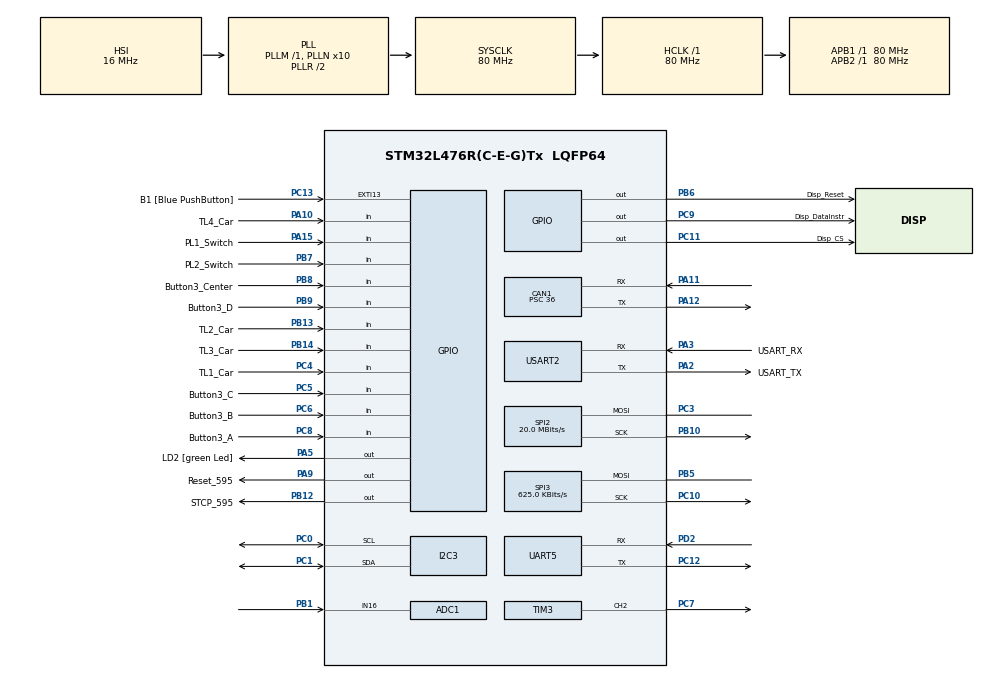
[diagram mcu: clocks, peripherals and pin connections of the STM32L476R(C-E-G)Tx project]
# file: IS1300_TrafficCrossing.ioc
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ADC1.Channel-0\#ChannelRegularConversion=ADC_CHANNEL_16
ADC1.NbrOfConversionFlag=1
ADC1.OffsetNumber-0\#ChannelRegularConversion=ADC_OFFSET_NONE
ADC1.Rank-0\#ChannelRegularConversion=1
ADC1.SamplingTime-0\#ChannelRegularConversion=ADC_SAMPLETIME_2CYCLES_5
ADC1.master=1
CAN1.CalculateBaudRate=740740
CAN1.CalculateTimeBit=1350
CAN1.CalculateTimeQuantum=450.0
CAN1.Prescaler=36
FREERTOS.Tasks01=defaultTask,24,128,StartDefaultTask,Default,NULL,Dynamic,NULL,NULL;input_task,8,128,StartInputTask,Default,NULL,Dynamic,NULL,NULL;output_task,8,128,StartOutputTask,Default,NULL,Dynamic,NULL,NULL;sensor_task,8,128,StartSensorTask,Default,NULL,Dynamic,NULL,NULL
FREERTOS.configUSE_NEWLIB_REENTRANT=1
I2C3.Timing=0x10909CEC
Mcu.Family=STM32L4
Mcu.Name=STM32L476R(C-E-G)Tx
Mcu.Package=LQFP64
NVIC.PriorityGroup=NVIC_PRIORITYGROUP_4
NVIC.TIM1_UP_TIM16_IRQn=true\:15\:0\:false\:false\:true\:false\:false\:true
NVIC.TimeBase=TIM1_UP_TIM16_IRQn
NVIC.TimeBaseIP=TIM1
PA10.GPIO_Label=TL4_Car
PA10.GPIO_PuPd=GPIO_PULLUP
PA10.Signal=GPIO_Input
PA11.Mode=CAN_Activate
PA11.Signal=CAN1_RX
PA12.Mode=CAN_Activate
PA12.Signal=CAN1_TX
PA13\ (JTMS-SWDIO).GPIO_Label=TMS
PA13\ (JTMS-SWDIO).Mode=Serial_Wire
PA13\ (JTMS-SWDIO).Signal=SYS_JTMS-SWDIO
PA14\ (JTCK-SWCLK).GPIO_Label=TCK
PA14\ (JTCK-SWCLK).Mode=Serial_Wire
PA14\ (JTCK-SWCLK).Signal=SYS_JTCK-SWCLK
PA15\ (JTDI).GPIO_Label=PL1_Switch
PA15\ (JTDI).GPIO_PuPd=GPIO_PULLUP
PA15\ (JTDI).Signal=GPIO_Input
PA2.GPIO_Label=USART_TX
PA2.GPIO_Mode=GPIO_MODE_AF_PP
PA2.GPIO_PuPd=GPIO_NOPULL
PA2.GPIO_Speed=GPIO_SPEED_FREQ_VERY_HIGH
PA2.Mode=Asynchronous
PA2.Signal=USART2_TX
PA3.GPIO_Label=USART_RX
PA3.GPIO_Mode=GPIO_MODE_AF_PP
PA3.GPIO_PuPd=GPIO_NOPULL
PA3.GPIO_Speed=GPIO_SPEED_FREQ_VERY_HIGH
PA3.Mode=Asynchronous
PA3.Signal=USART2_RX
PA5.GPIO_Label=LD2 [green Led]
PA5.GPIO_ModeDefaultOutputPP=GPIO_MODE_OUTPUT_PP
PA5.GPIO_PuPd=GPIO_NOPULL
PA5.GPIO_Speed=GPIO_SPEED_FREQ_LOW
PA5.Signal=GPIO_Output
PA9.GPIO_Label=Reset_595
PA9.Signal=GPIO_Output
PB1.Signal=ADCx_IN16
PB10.Mode=Simplex_Bidirectional_Master
PB10.Signal=SPI2_SCK
PB12.GPIO_Label=STCP_595
PB12.Signal=GPIO_Output
PB13.GPIO_Label=TL2_Car
PB13.GPIO_PuPd=GPIO_PULLUP
PB13.Signal=GPIO_Input
PB14.GPIO_Label=TL3_Car
PB14.GPIO_PuPd=GPIO_PULLUP
PB14.Signal=GPIO_Input
PB3\ (JTDO-TRACESWO).GPIO_Label=SWO
PB3\ (JTDO-TRACESWO).Signal=SYS_JTDO-SWO
PB5.Mode=Simplex_Bidirectional_Master
PB5.Signal=SPI3_MOSI
PB6.GPIO_Label=Disp_Reset
PB6.Signal=GPIO_Output
PB7.GPIO_Label=PL2_Switch
PB7.GPIO_PuPd=GPIO_PULLUP
PB7.Signal=GPIO_Input
PB8.GPIO_Label=Button3_Center
PB8.GPIO_PuPd=GPIO_PULLUP
PB8.Signal=GPIO_Input
PB9.GPIO_Label=Button3_D
PB9.GPIO_PuPd=GPIO_PULLUP
PB9.Signal=GPIO_Input
PC0.Mode=I2C
PC0.Signal=I2C3_SCL
PC1.Mode=I2C
PC1.Signal=I2C3_SDA
PC10.Mode=Simplex_Bidirectional_Master
PC10.Signal=SPI3_SCK
PC11.GPIO_Label=Disp_CS
PC11.Signal=GPIO_Output
PC12.Mode=Asynchronous
PC12.Signal=UART5_TX
PC13.GPIO_Label=B1 [Blue PushButton]
PC13.GPIO_ModeDefaultEXTI=GPIO_MODE_IT_FALLING
PC13.GPIO_PuPd=GPIO_NOPULL
PC13.Signal=GPXTI13
PC14-OSC32_IN\ (PC14).Mode=LSE-External-Oscillator
PC14-OSC32_IN\ (PC14).Signal=RCC_OSC32_IN
PC15-OSC32_OUT\ (PC15).Mode=LSE-External-Oscillator
PC15-OSC32_OUT\ (PC15).Signal=RCC_OSC32_OUT
PC3.Mode=Simplex_Bidirectional_Master
PC3.Signal=SPI2_MOSI
PC4.GPIO_Label=TL1_Car
PC4.GPIO_PuPd=GPIO_PULLUP
PC4.Signal=GPIO_Input
PC5.GPIO_Label=Button3_C
PC5.GPIO_PuPd=GPIO_PULLUP
PC5.Signal=GPIO_Input
PC6.GPIO_Label=Button3_B
PC6.GPIO_PuPd=GPIO_PULLUP
PC6.Signal=GPIO_Input
PC7.Signal=S_TIM3_CH2
PC8.GPIO_Label=Button3_A
PC8.GPIO_PuPd=GPIO_PULLUP
PC8.Signal=GPIO_Input
PC9.GPIO_Label=Disp_DataInstr
PC9.Signal=GPIO_Output
PD2.Mode=Asynchronous
PD2.Signal=UART5_RX
PH0-OSC_IN\ (PH0).Mode=HSE-External-Oscillator
PH0-OSC_IN\ (PH0).Signal=RCC_OSC_IN
PH1-OSC_OUT\ (PH1).Mode=HSE-External-Oscillator
PH1-OSC_OUT\ (PH1).Signal=RCC_OSC_OUT
ProjectManager.HeapSize=0x200
ProjectManager.StackSize=0x400
ProjectManager.TargetToolchain=STM32CubeIDE
RCC.ADCFreq_Value=64000000
RCC.AHBFreq_Value=80000000
RCC.APB1Freq_Value=80000000
RCC.APB1TimFreq_Value=80000000
RCC.APB2Freq_Value=80000000
RCC.APB2TimFreq_Value=80000000
RCC.CortexFreq_Value=80000000
RCC.HCLKFreq_Value=80000000
RCC.HSE_VALUE=8000000
RCC.HSI_VALUE=16000000
RCC.MSI_VALUE=4000000
RCC.PLLN=10
RCC.PLLSourceVirtual=RCC_PLLSOURCE_HSI
RCC.PREFETCH_ENABLE=1
RCC.SYSCLKFreq_VALUE=80000000
RCC.SYSCLKSource=RCC_SYSCLKSOURCE_PLLCLK
RCC.USBFreq_Value=64000000
RCC.VCOOutputFreq_Value=160000000
SH.ADCx_IN16.0=ADC1_IN16,IN16-Single-Ended
SH.S_TIM3_CH2.0=TIM3_CH2,PWM Generation2 CH2
SPI2.BaudRatePrescaler=SPI_BAUDRATEPRESCALER_4
SPI2.CalculateBaudRate=20.0 MBits/s
SPI2.DataSize=SPI_DATASIZE_8BIT
SPI2.Direction=SPI_DIRECTION_1LINE
SPI2.Mode=SPI_MODE_MASTER
SPI2.VirtualType=VM_MASTER
SPI3.BaudRatePrescaler=SPI_BAUDRATEPRESCALER_128
SPI3.CalculateBaudRate=625.0 KBits/s
SPI3.DataSize=SPI_DATASIZE_8BIT
SPI3.Direction=SPI_DIRECTION_1LINE
SPI3.Mode=SPI_MODE_MASTER
SPI3.VirtualType=VM_MASTER
TIM3.Channel-PWM\ Generation2\ CH2=TIM_CHANNEL_2
TIM3.Period=10000
TIM3.Pulse-PWM\ Generation2\ CH2=5000
USART2.VirtualMode-Asynchronous=VM_ASYNC
VP_FREERTOS_VS_CMSIS_V2.Mode=CMSIS_V2
VP_SYS_VS_tim1.Mode=TIM1
board=NUCLEO-L476RG

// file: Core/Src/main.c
/* USER CODE BEGIN Header */
/**
  ******************************************************************************
  * @file           : main.c
  * @brief          : Main program body
  ******************************************************************************
  * @attention
  *
  * Copyright (c) 2022 STMicroelectronics.
  * All rights reserved.
  *
  * This software is licensed under terms that can be found in the LICENSE file
  * in the root directory of this software component.
  * If no LICENSE file comes with this software, it is provided AS-IS.
  *
  ******************************************************************************
  */
/* USER CODE END Header */
#include "main.h"
#include "cmsis_os.h"
#include "adc.h"
#include "can.h"
#include "i2c.h"
#include "spi.h"
#include "tim.h"
#include "usart.h"
#include "gpio.h"

/* USER CODE BEGIN Includes */
#include <stdio.h>
#include "retarget.h"
#include "Accelerometer.h"
#include "ssd1306.h"
#include "sht2x_for_stm32_hal.h"
#include "lis2dw12_reg.h"
#include "trafficlights.h"
#include "traffic_inputs.h"
#include "SEGGER_SYSVIEW.h"
#include "environment.h"
/* USER CODE END Includes */
extern tl_street_t crossing[];

/* USER CODE BEGIN PV */
//static uint8_t whoamI;
/* USER CODE END PV */

void SystemClock_Config(void);
void MX_FREERTOS_Init(void);
/* USER CODE BEGIN PFP */
//static int32_t platform_write(void *handle, uint8_t reg, const uint8_t *bufp,
//                              uint16_t len);
//static int32_t platform_read(void *handle, uint8_t reg, uint8_t *bufp,
//                             uint16_t len);
/* USER CODE END PFP */

int main(void)
{

  /* MCU Configuration--------------------------------------------------------*/

  /* Reset of all peripherals, Initializes the Flash interface and the Systick. */
  HAL_Init();

  /* Configure the system clock */
  SystemClock_Config();

  /* USER CODE BEGIN SysInit */
  SEGGER_SYSVIEW_Conf();
  /* USER CODE END SysInit */

  /* Initialize all configured peripherals */
  MX_GPIO_Init();
  MX_USART2_UART_Init();
  MX_CAN1_Init();
  MX_I2C3_Init();
  MX_UART5_Init();
  MX_ADC1_Init();
  MX_SPI2_Init();
  MX_TIM3_Init();
  MX_SPI3_Init();
  /* USER CODE BEGIN 2 */
  RetargetInit(&huart2);

  /* Initialize mems driver interface */
//  stmdev_ctx_t dev_ctx;
//  //lis2dw12_reg_t int_route;
//  dev_ctx.write_reg = platform_write;
//  dev_ctx.read_reg = platform_read;
//  dev_ctx.handle = &hi2c3;
  acc_init();
  tl_init();

 // SHT2x_Init(&hi2c3);
 // SHT2x_SetResolution(RES_14_12);
  env_init();
  //ssd1306_TestAll();

  ssd1306_Init();

  HAL_Delay(20);
  uint8_t count = 0;

//  lis2dw12_device_id_get(&dev_ctx, &whoamI);
//  if (whoamI != LIS2DW12_ID) {
//	  printf("lis2dw12 not detected...\r\n");
//  } else {
//	  printf("lis2dw12 detected!\r\n");
//  }
  /* USER CODE END 2 */

  /* Init scheduler */
  osKernelInitialize();  /* Call init function for freertos objects (in freertos.c) */
  MX_FREERTOS_Init();
  /* Start scheduler */
  osKernelStart();

  /* We should never get here as control is now taken by the scheduler */
  /* Infinite loop */
  /* USER CODE BEGIN WHILE */
  while (1)
  {
	  if (count == 10) {
		  count = 0;
		  //ti_test_inputs();

		  //float cel = SHT2x_GetTemperature(1);
		  //float rh = SHT2x_GetRelativeHumidity(1);
		 // printf("%d.%dºC, %d.%d%% RH\r\n", SHT2x_GetInteger(cel), SHT2x_GetDecimal(cel, 1), SHT2x_GetInteger(rh), SHT2x_GetDecimal(rh, 1));
	  }
	  count++;
    /* USER CODE END WHILE */

  }
}

void SystemClock_Config(void)
{
  RCC_OscInitTypeDef RCC_OscInitStruct = {0};
  RCC_ClkInitTypeDef RCC_ClkInitStruct = {0};

  /** Configure the main internal regulator output voltage
  */
  if (HAL_PWREx_ControlVoltageScaling(PWR_REGULATOR_VOLTAGE_SCALE1) != HAL_OK)
  {
    Error_Handler();
  }
  /** Initializes the RCC Oscillators according to the specified parameters
  * in the RCC_OscInitTypeDef structure.
  */
  RCC_OscInitStruct.OscillatorType = RCC_OSCILLATORTYPE_HSI;
  RCC_OscInitStruct.HSIState = RCC_HSI_ON;
  RCC_OscInitStruct.HSICalibrationValue = RCC_HSICALIBRATION_DEFAULT;
  RCC_OscInitStruct.PLL.PLLState = RCC_PLL_ON;
  RCC_OscInitStruct.PLL.PLLSource = RCC_PLLSOURCE_HSI;
  RCC_OscInitStruct.PLL.PLLM = 1;
  RCC_OscInitStruct.PLL.PLLN = 10;
  RCC_OscInitStruct.PLL.PLLP = RCC_PLLP_DIV7;
  RCC_OscInitStruct.PLL.PLLQ = RCC_PLLQ_DIV2;
  RCC_OscInitStruct.PLL.PLLR = RCC_PLLR_DIV2;
  if (HAL_RCC_OscConfig(&RCC_OscInitStruct) != HAL_OK)
  {
    Error_Handler();
  }
  /** Initializes the CPU, AHB and APB buses clocks
  */
  RCC_ClkInitStruct.ClockType = RCC_CLOCKTYPE_HCLK|RCC_CLOCKTYPE_SYSCLK
                              |RCC_CLOCKTYPE_PCLK1|RCC_CLOCKTYPE_PCLK2;
  RCC_ClkInitStruct.SYSCLKSource = RCC_SYSCLKSOURCE_PLLCLK;
  RCC_ClkInitStruct.AHBCLKDivider = RCC_SYSCLK_DIV1;
  RCC_ClkInitStruct.APB1CLKDivider = RCC_HCLK_DIV1;
  RCC_ClkInitStruct.APB2CLKDivider = RCC_HCLK_DIV1;

  if (HAL_RCC_ClockConfig(&RCC_ClkInitStruct, FLASH_LATENCY_4) != HAL_OK)
  {
    Error_Handler();
  }
}

/* USER CODE BEGIN 4 */

//static int32_t platform_write(void *handle, uint8_t reg, const uint8_t *bufp,
//                              uint16_t len)
//{
//  HAL_I2C_Mem_Write(handle, LIS2DW12_I2C_ADD_H, reg,
//                    I2C_MEMADD_SIZE_8BIT, (uint8_t*) bufp, len, 1000);
//  return 0;
//}
//
//static int32_t platform_read(void *handle, uint8_t reg, uint8_t *bufp,
//                             uint16_t len)
//{
//  HAL_I2C_Mem_Read(handle, LIS2DW12_I2C_ADD_H, reg,
//                   I2C_MEMADD_SIZE_8BIT, bufp, len, 1000);
//  return 0;
//}

/* USER CODE END 4 */

void HAL_TIM_PeriodElapsedCallback(TIM_HandleTypeDef *htim)
{
  if (htim->Instance == TIM1) {
    HAL_IncTick();
  }
}

void Error_Handler(void)
{
  __disable_irq();
  while (1)
  {
  }
}

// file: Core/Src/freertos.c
/* USER CODE BEGIN Header */
/**
  ******************************************************************************
  * File Name          : freertos.c
  * Description        : Code for freertos applications
  ******************************************************************************
  * @attention
  *
  * Copyright (c) 2022 STMicroelectronics.
  * All rights reserved.
  *
  * This software is licensed under terms that can be found in the LICENSE file
  * in the root directory of this software component.
  * If no LICENSE file comes with this software, it is provided AS-IS.
  *
  ******************************************************************************
  */
/* USER CODE END Header */

#include "FreeRTOS.h"
#include "task.h"
#include "main.h"
#include "cmsis_os.h"

/* USER CODE BEGIN Includes */
#include "trafficlights.h"
#include "traffic_inputs.h"
#include "SEGGER_SYSVIEW.h"
#include "semphr.h"
#include "ssd1306.h"
#include "demo_gui.h"
#include "Accelerometer.h"
#include "environment.h"
/* USER CODE END Includes */

/* USER CODE BEGIN Variables */

SemaphoreHandle_t dataMutex;

/* USER CODE END Variables */
/* Definitions for defaultTask */
osThreadId_t defaultTaskHandle;
const osThreadAttr_t defaultTask_attributes = {
  .name = "defaultTask",
  .stack_size = 128 * 4,
  .priority = (osPriority_t) osPriorityNormal,
};
/* Definitions for input_task */
osThreadId_t input_taskHandle;
const osThreadAttr_t input_task_attributes = {
  .name = "input_task",
  .stack_size = 128 * 8,
  .priority = (osPriority_t) 3,
};
/* Definitions for output_task */
osThreadId_t output_taskHandle;
const osThreadAttr_t output_task_attributes = {
  .name = "output_task",
  .stack_size = 128 * 8,
  .priority = (osPriority_t) 1,
};
/* Definitions for sensor_task */
//osThreadId_t sensor_taskHandle;
//const osThreadAttr_t sensor_task_attributes = {
//  .name = "sensor_task",
//  .stack_size = 128 * 4,
//  .priority = (osPriority_t) osPriorityLow,
//};

/* Definitions for sensor_task */
osThreadId_t processing_taskHandle;
const osThreadAttr_t processing_task_attributes = {
  .name = "processing_task",
  .stack_size = 128 * 8,
  .priority = (osPriority_t) 2,
};

void StartDefaultTask(void *argument);
void StartInputTask(void *argument);
void StartOutputTask(void *argument);
//void StartSensorTask(void *argument);
void StartProcessingTask(void *argument);

void MX_FREERTOS_Init(void); /* (MISRA C 2004 rule 8.1) */

void MX_FREERTOS_Init(void) {

  /* Create the thread(s) */
  /* creation of defaultTask */
  defaultTaskHandle = osThreadNew(StartDefaultTask, NULL, &defaultTask_attributes);

  /* creation of input_task */
  input_taskHandle = osThreadNew(StartInputTask, NULL, &input_task_attributes);

  /* creation of output_task */
  output_taskHandle = osThreadNew(StartOutputTask, NULL, &output_task_attributes);

  /* creation of sensor_task */
  //sensor_taskHandle = osThreadNew(StartSensorTask, NULL, &sensor_task_attributes);

  /* creation of processing_task */
  processing_taskHandle = osThreadNew(StartProcessingTask, NULL, &processing_task_attributes);

}

void StartDefaultTask(void *argument)
{

  /* USER CODE BEGIN StartDefaultTask */
	SEGGER_SYSVIEW_Start();
	dataMutex = xSemaphoreCreateMutex();
	vTaskSuspend(NULL);
  /* USER CODE END StartDefaultTask */
}

void StartInputTask(void *argument)
{
  /* USER CODE BEGIN StartInputTask */
	TickType_t xLastWakeTime;
	const TickType_t xPeriod = pdMS_TO_TICKS(100) ;
	xLastWakeTime = xTaskGetTickCount();

	/* Infinite loop */
	for(;;)
	{

		/**
		 * Copy the input data to the shared state
		 */
		if(xSemaphoreTake(dataMutex, portMAX_DELAY) == pdTRUE) {
			ti_update();
			acc_update();
			env_update();
			xSemaphoreGive(dataMutex);
		}

		vTaskDelayUntil( &xLastWakeTime, xPeriod);
	}
  /* USER CODE END StartInputTask */
}

void StartOutputTask(void *argument)
{
	/* USER CODE BEGIN StartOutputTask */
	TickType_t xLastWakeTime;
	const TickType_t xPeriod = pdMS_TO_TICKS(100) ;
	xLastWakeTime = xTaskGetTickCount();

	/* Infinite loop */
	for(;;)
	{
		if(xSemaphoreTake(dataMutex, portMAX_DELAY) == pdTRUE) {
			tl_update();
			ssd1306_UpdateScreen();
			tl_brightnessUpdate();
			xSemaphoreGive(dataMutex);
		}
		vTaskDelayUntil( &xLastWakeTime, xPeriod);
	}
	/* USER CODE END StartOutputTask */
}

//void StartSensorTask(void *argument)
//{
//	/* USER CODE BEGIN StartSensorTask */
//	/* Infinite loop */
//	TickType_t xLastWakeTime;
//	const TickType_t xPeriod = pdMS_TO_TICKS(20) ;
//	xLastWakeTime = xTaskGetTickCount();
//
//	/* Infinite loop */
//	for(;;)
//	{
//		vTaskDelayUntil( &xLastWakeTime, xPeriod);
//	}
//	/* USER CODE END StartSensorTask */
//}

void StartProcessingTask(void *argument)
{
	/* USER CODE BEGIN StartSensorTask */

	// Copy of the inputs
	ti_state_t input_state[TI_INPUT_COUNT];

	TickType_t xLastWakeTime;
	const TickType_t xPeriod = pdMS_TO_TICKS(100) ;
	xLastWakeTime = xTaskGetTickCount();

	/* Infinite loop */
	for(;;)
	{
		if(xSemaphoreTake(dataMutex, portMAX_DELAY) == pdTRUE) {
			ti_get_states(input_state);
			xSemaphoreGive(dataMutex);
		}
		demo_gui_update(input_state, ti_get_poti_percent(), acc_get_acceleration(), env_get_data());
		tl_brightnessControl(ti_get_poti_percent());
		vTaskDelayUntil( &xLastWakeTime, xPeriod);
	}
	/* USER CODE END StartSensorTask */
}
